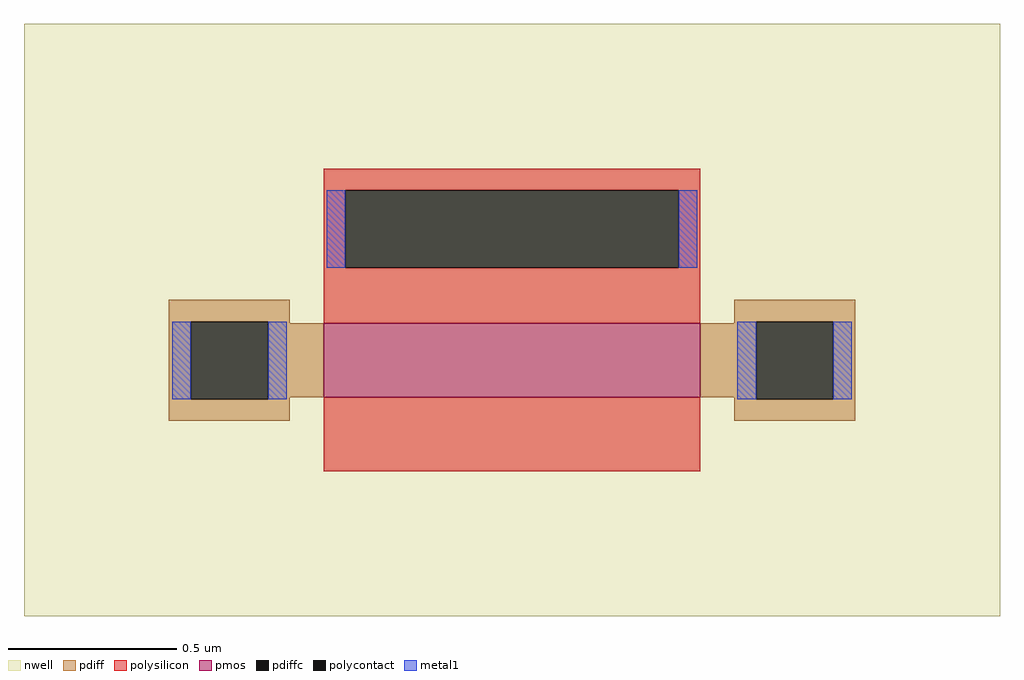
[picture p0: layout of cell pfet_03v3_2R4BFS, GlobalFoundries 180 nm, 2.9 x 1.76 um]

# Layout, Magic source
magic
tech gf180mcuC
magscale 1 10
<< nwell >>
rect -290 -176 290 176
<< pmos >>
rect -112 -46 112 -2
<< pdiff >>
rect -204 -1 -132 12
rect -204 -47 -191 -1
rect -145 -2 -132 -1
rect 132 -1 204 12
rect 132 -2 145 -1
rect -145 -46 -112 -2
rect 112 -46 145 -2
rect -145 -47 -132 -46
rect -204 -60 -132 -47
rect 132 -47 145 -46
rect 191 -47 204 -1
rect 132 -60 204 -47
<< pdiffc >>
rect -191 -47 -145 -1
rect 145 -47 191 -1
<< polysilicon >>
rect -112 77 112 90
rect -112 31 -99 77
rect 99 31 112 77
rect -112 -2 112 31
rect -112 -90 112 -46
<< polycontact >>
rect -99 31 99 77
<< metal1 >>
rect -110 31 -99 77
rect 99 31 110 77
rect -202 -47 -191 -1
rect -145 -47 -134 -1
rect 134 -47 145 -1
rect 191 -47 202 -1
<< properties >>
string gencell pfet_03v3
string library gf180mcu
string parameters w 0.22 l 1.12 m 1 nf 1 diffcov 100 polycov 100 guard 0 glc 0 grc 0 gtc 0 gbc 0 tbcov 100 rlcov 100 topc 1 botc 0 poverlap 0 doverlap 0 lmin 0.28 wmin 0.22 class mosfet full_metal 0 compatible {pfet_03v3 pfet_05v0 pfet_06v0}
<< end >>
